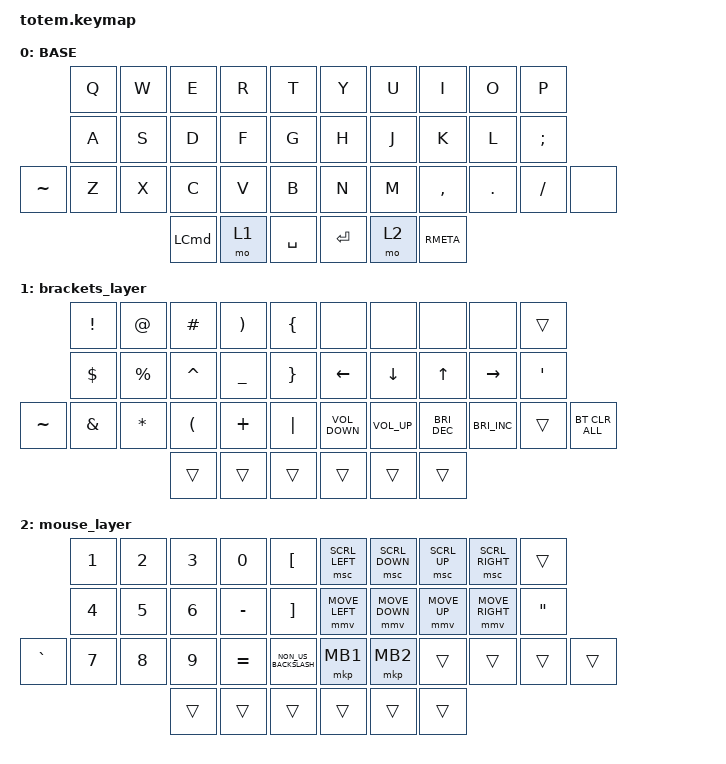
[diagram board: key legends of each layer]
//
//                                                        ▀▀▀▀▀     ▀▀▀▀▀          ▀▀█▀▀
//                                                        ▄▀▀▀▄  ▄  ▄▀▀▀▄  ▄  ▄▀▀▀▄  █  ▄▀▀▀▄
//                                                        █   █  █  █   █  █  █   █  █  █   █
//                                                         ▀▀▀   █   ▀▀▀   █   ▀▀▀   ▀   ▀▀▀
//                                                               █      ▄▄▄█▄▄▄    █   █  
//                                                               ▀      █  █  █     █▄█
//                                                             ▀▀▀▀▀    █  █  █      ▀
//                                                                      ▀  ▀  ▀
//
// ▄▄▄▄▄▄▄▄▄▄▄▄▄▄▄▄▄▄▄▄▄▄▄▄▄▄▄▄▄▄▄▄▄▄▄▄▄▄▄▄▄▄▄▄▄▄▄▄▄▄▄▄▄▄▄▄▄▄▄▄▄▄▄▄▄▄▄▄▄▄▄▄▄▄▄▄▄▄▄▄▄▄▄▄▄▄▄▄▄▄▄▄▄▄▄▄▄▄▄▄▄▄▄▄▄▄▄▄▄▄▄▄▄▄▄▄▄▄▄▄▄▄▄▄▄▄▄▄▄▄▄▄▄▄▄▄▄▄▄▄▄▄▄▄▄▄▄▄▄

#include <behaviors.dtsi>
#include <dt-bindings/zmk/bt.h>
#include <dt-bindings/zmk/keys.h>
#include <dt-bindings/zmk/pointing.h>

#define BASE 0
#define NAV  1
#define SYM  2
#define ADJ  3
#define TVP1 4
#define TVP2 5

&mt {
    quick-tap-ms = <100>;
    global-quick-tap;
    flavor = "tap-preferred";
    tapping-term-ms = <170>;
};

/ {
    combos {
        compatible = "zmk,combos";

        right_shift {
            bindings = <&kp RIGHT_SHIFT>;
            key-positions = <16 17>;
            timeout-ms = <50>;
        };

        left_shift {
            bindings = <&kp LEFT_SHIFT>;
            key-positions = <12 13>;
            timeout-ms = <50>;
        };

        escape {
            bindings = <&kp ESCAPE>;
            key-positions = <13 14>;
            timeout-ms = <50>;
        };

        tab {
            bindings = <&kp TAB>;
            key-positions = <15 16>;
            timeout-ms = <50>;
        };

        erase {
            bindings = <&kp BACKSPACE>;
            key-positions = <16 17 18>;
            timeout-ms = <50>;
        };

        lctrl {
            bindings = <&kp LEFT_CONTROL>;
            key-positions = <11 12>;
            timeout-ms = <50>;
        };

        rctrl {
            bindings = <&kp RCTRL>;
            key-positions = <17 18>;
            timeout-ms = <50>;
        };

        lalt {
            bindings = <&kp LEFT_ALT>;
            key-positions = <1 2>;
            timeout-ms = <50>;
        };

        ralt {
            bindings = <&kp RIGHT_ALT>;
            key-positions = <7 8>;
            timeout-ms = <50>;
        };
    };

    macros {
        gif: gif {
            label = "giphy";
            compatible = "zmk,behavior-macro";
            #binding-cells = <0>;
            bindings =
                <&macro_press>,
                <&kp LSHFT>,
                <&macro_tap>,
                <&kp N2>,
                <&macro_release>,
                <&kp LSHFT>,
                <&macro_tap>,
                <&kp G &kp I &kp F>;
        };
    };

    behaviors {
        hm: hm {
            compatible = "zmk,behavior-hold-tap";
            label = "HM";
            bindings = <&none>, <&none>;

            #binding-cells = <2>;
            tapping-term-ms = <200>;
            flavor = "tap-preferred";
        };
    };

    keymap {
        compatible = "zmk,keymap";

        // ▄▄▄▄▄▄▄▄▄▄▄▄▄▄▄▄▄▄▄▄▄▄▄▄▄▄▄▄▄▄▄▄▄▄▄▄▄▄▄▄▄▄▄▄▄▄▄▄▄▄▄▄▄▄▄▄▄▄▄▄▄▄▄▄▄▄▄▄▄▄▄▄▄▄▄▄▄▄▄▄▄▄▄▄▄▄▄▄▄▄▄▄▄▄▄▄▄▄▄▄▄▄▄▄▄▄▄▄▄▄▄▄▄▄▄▄▄▄▄▄▄▄▄▄▄▄▄▄▄▄▄▄▄▄▄▄▄▄▄▄▄▄▄▄▄▄▄▄▄

        base_layer {
            // ┏━━━━━━━━━━━━━━━━━━━━━━━━━━━━━━━━━━━━━━━┓

            label = "BASE";

            // ┗━━━━━━━━━━━━━━━━━━━━━━━━━━━━━━━━━━━━━━━┛
            //             ┏━━━━━━━━━━━┳━━━━━━━━━━━┳━━━━━━━━━━━┳━━━━━━━━━━━┳━━━━━━━━━━━┓   ┏━━━━━━━━━━━┳━━━━━━━━━━━┳━━━━━━━━━━━┳━━━━━━━━━━━┳━━━━━━━━━━━┓
            //             ┃     Q     ┃     W     ┃     F     ┃     P     ┃     G     ┃   ┃     J     ┃     L     ┃     U     ┃     Y     ┃     ;     ┃
            //             ┣━━━━━━━━━━━╋━━━━━━━━━━━╋━━━━━━━━━━━╋━━━━━━━━━━━╋━━━━━━━━━━━┫   ┣━━━━━━━━━━━╋━━━━━━━━━━━╋━━━━━━━━━━━╋━━━━━━━━━━━╋━━━━━━━━━━━┫
            //             ┃     A     ┃     R     ┃     S     ┃     T     ┃     D     ┃   ┃     H     ┃     N     ┃     E     ┃     I     ┃     O     ┃
            // ┏━━━━━━━━━━━╋━━━━━━━━━━━╋━━━━━━━━━━━╋━━━━━━━━━━━╋━━━━━━━━━━━╋━━━━━━━━━━━┫   ┣━━━━━━━━━━━╋━━━━━━━━━━━╋━━━━━━━━━━━╋━━━━━━━━━━━╋━━━━━━━━━━━╋━━━━━━━━━━━┓
            // ┃     Q     ┃     Z     ┃     X     ┃     C     ┃     V     ┃     B     ┃   ┃     K     ┃     M     ┃     ,     ┃     .     ┃     /     ┃     \     ┃
            // ┗━━━━━━━━━━━┻━━━━━━━━━━━┻━━━━━━━━━━━╋━━━━━━━━━━━╋━━━━━━━━━━━╋━━━━━━━━━━━┫   ┣━━━━━━━━━━━╋━━━━━━━━━━━╋━━━━━━━━━━━╋━━━━━━━━━━━┻━━━━━━━━━━━┻━━━━━━━━━━━┛
            //                                     ┃    DEL    ┃    TAB    ┃    SPC    ┃   ┃   ENTER   ┃           ┃   BSPC    ┃
            //                                     ┗━━━━━━━━━━━┻━━━━━━━━━━━┻━━━━━━━━━━━┛   ┗━━━━━━━━━━━┻━━━━━━━━━━━┻━━━━━━━━━━━┛

            bindings = <
           &kp Q  &kp W  &kp E     &kp R  &kp T        &kp Y      &kp U  &kp I      &kp O    &kp P
           &kp A  &kp S  &kp D     &kp F  &kp G        &kp H      &kp J  &kp K      &kp L    &kp SEMICOLON
&kp TILDE  &kp Z  &kp X  &kp C     &kp V  &kp B        &kp N      &kp M  &kp COMMA  &kp DOT  &kp FSLH       &none
                         &kp LCMD  &mo 1  &kp SPACE    &kp ENTER  &mo 2  &kp RMETA
            >;
        };

        // ▄▄▄▄▄▄▄▄▄▄▄▄▄▄▄▄▄▄▄▄▄▄▄▄▄▄▄▄▄▄▄▄▄▄▄▄▄▄▄▄▄▄▄▄▄▄▄▄▄▄▄▄▄▄▄▄▄▄▄▄▄▄▄▄▄▄▄▄▄▄▄▄▄▄▄▄▄▄▄▄▄▄▄▄▄▄▄▄▄▄▄▄▄▄▄▄▄▄▄▄▄▄▄▄▄▄▄▄▄▄▄▄▄▄▄▄▄▄▄▄▄▄▄▄▄▄▄▄▄▄▄▄▄▄▄▄▄▄▄▄▄▄▄▄▄▄▄▄▄
        // ▄▄▄▄▄▄▄▄▄▄▄▄▄▄▄▄▄▄▄▄▄▄▄▄▄▄▄▄▄▄▄▄▄▄▄▄▄▄▄▄▄▄▄▄▄▄▄▄▄▄▄▄▄▄▄▄▄▄▄▄▄▄▄▄▄▄▄▄▄▄▄▄▄▄▄▄▄▄▄▄▄▄▄▄▄▄▄▄▄▄▄▄▄▄▄▄▄▄▄▄▄▄▄▄▄▄▄▄▄▄▄▄▄▄▄▄▄▄▄▄▄▄▄▄▄▄▄▄▄▄▄▄▄▄▄▄▄▄▄▄▄▄▄▄▄▄▄▄▄
        // ▄▄▄▄▄▄▄▄▄▄▄▄▄▄▄▄▄▄▄▄▄▄▄▄▄▄▄▄▄▄▄▄▄▄▄▄▄▄▄▄▄▄▄▄▄▄▄▄▄▄▄▄▄▄▄▄▄▄▄▄▄▄▄▄▄▄▄▄▄▄▄▄▄▄▄▄▄▄▄▄▄▄▄▄▄▄▄▄▄▄▄▄▄▄▄▄▄▄▄▄▄▄▄▄▄▄▄▄▄▄▄▄▄▄▄▄▄▄▄▄▄▄▄▄▄▄▄▄▄▄▄▄▄▄▄▄▄▄▄▄▄▄▄▄▄▄▄▄▄

        brackets_layer {
            bindings = <
           &kp EXCLAMATION  &kp AT_SIGN   &kp HASH              &kp RIGHT_PARENTHESIS  &kp LEFT_BRACE     &none              &none            &none                 &none                 &trans
           &kp DOLLAR       &kp PERCENT   &kp CARET             &kp UNDERSCORE         &kp RIGHT_BRACE    &kp LEFT           &kp DOWN         &kp UP_ARROW          &kp RIGHT             &kp APOS
&kp TILDE  &kp AMPERSAND    &kp ASTERISK  &kp LEFT_PARENTHESIS  &kp PLUS               &kp PIPE           &kp K_VOLUME_DOWN  &kp C_VOLUME_UP  &kp C_BRIGHTNESS_DEC  &kp C_BRIGHTNESS_INC  &trans    &bt BT_CLR_ALL
                                          &trans                &trans                 &trans             &trans             &trans           &trans
            >;
        };

        mouse_layer {
            bindings = <
           &kp NUMBER_1  &kp NUMBER_2  &kp NUMBER_3  &kp N0     &kp LEFT_BRACKET        &msc SCRL_LEFT  &msc SCRL_DOWN  &msc SCRL_UP  &msc SCRL_RIGHT  &trans
           &kp NUMBER_4  &kp N5        &kp NUMBER_6  &kp MINUS  &kp RIGHT_BRACKET       &mmv MOVE_LEFT  &mmv MOVE_DOWN  &mmv MOVE_UP  &mmv MOVE_RIGHT  &kp DOUBLE_QUOTES
&kp GRAVE  &kp N7        &kp N8        &kp N9        &kp EQUAL  &kp NON_US_BACKSLASH    &mkp MB1        &mkp MB2        &trans        &trans           &trans             &trans
                                       &trans        &trans     &trans                  &trans          &trans          &trans
            >;
        };

        // ▄▄▄▄▄▄▄▄▄▄▄▄▄▄▄▄▄▄▄▄▄▄▄▄▄▄▄▄▄▄▄▄▄▄▄▄▄▄▄▄▄▄▄▄▄▄▄▄▄▄▄▄▄▄▄▄▄▄▄▄▄▄▄▄▄▄▄▄▄▄▄▄▄▄▄▄▄▄▄▄▄▄▄▄▄▄▄▄▄▄▄▄▄▄▄▄▄▄▄▄▄▄▄▄▄▄▄▄▄▄▄▄▄▄▄▄▄▄▄▄▄▄▄▄▄▄▄▄▄▄▄▄▄▄▄▄▄▄▄▄▄▄▄▄▄▄▄▄▄
        // ▄▄▄▄▄▄▄▄▄▄▄▄▄▄▄▄▄▄▄▄▄▄▄▄▄▄▄▄▄▄▄▄▄▄▄▄▄▄▄▄▄▄▄▄▄▄▄▄▄▄▄▄▄▄▄▄▄▄▄▄▄▄▄▄▄▄▄▄▄▄▄▄▄▄▄▄▄▄▄▄▄▄▄▄▄▄▄▄▄▄▄▄▄▄▄▄▄▄▄▄▄▄▄▄▄▄▄▄▄▄▄▄▄▄▄▄▄▄▄▄▄▄▄▄▄▄▄▄▄▄▄▄▄▄▄▄▄▄▄▄▄▄▄▄▄▄▄▄▄
    };
};
